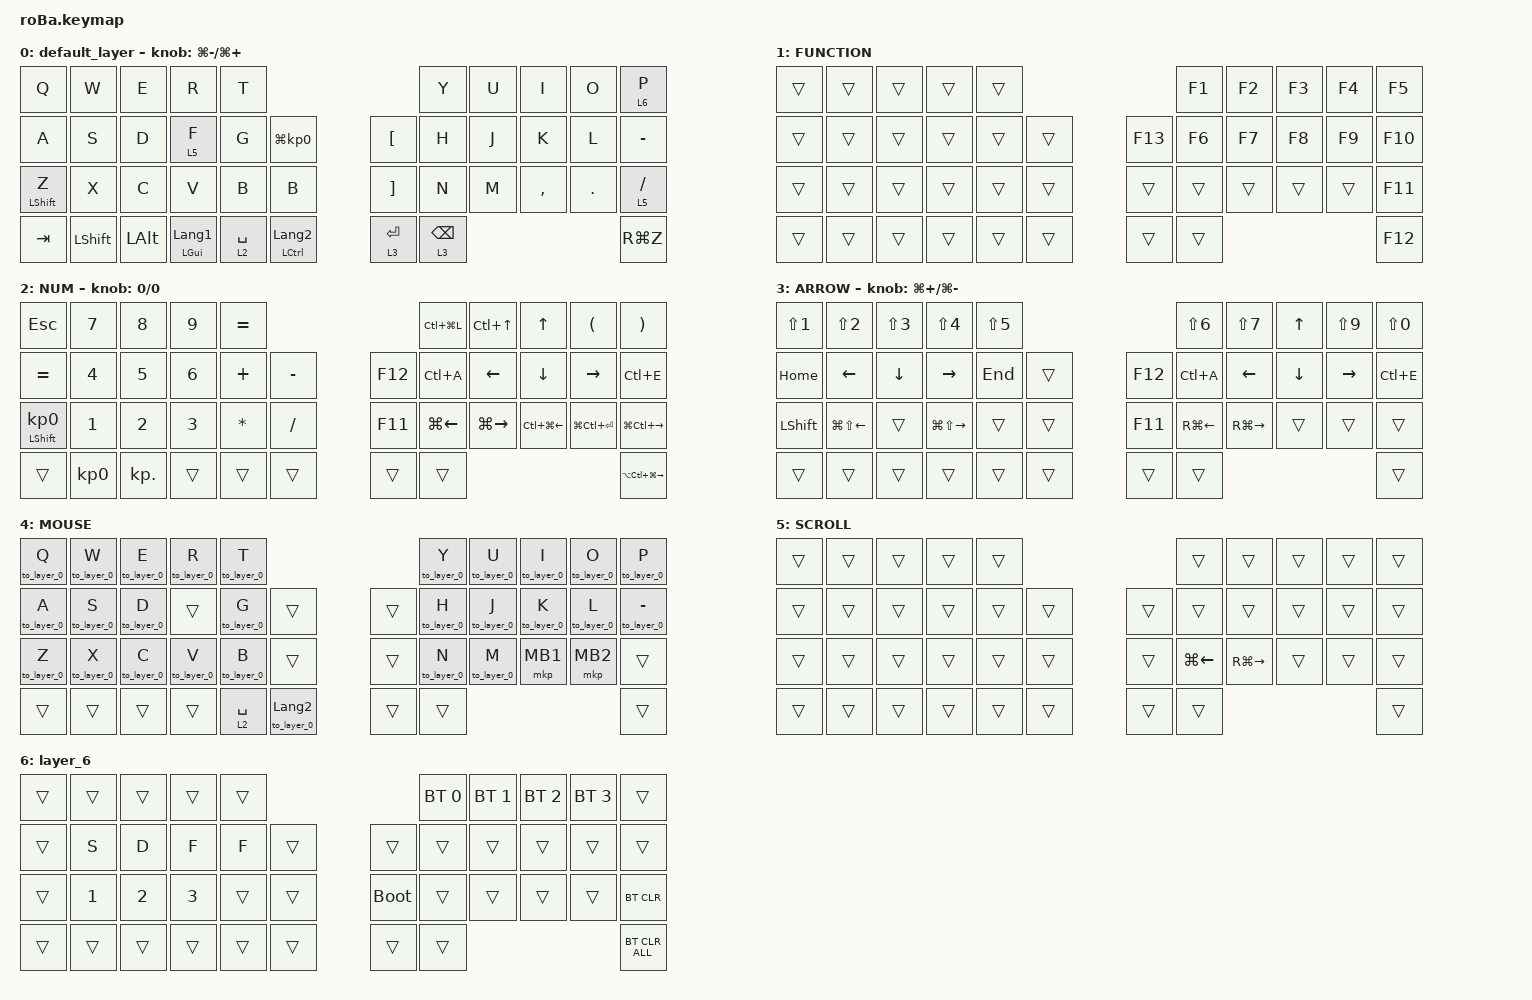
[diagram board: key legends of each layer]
#include <behaviors.dtsi>
#include <dt-bindings/zmk/bt.h>
#include <dt-bindings/zmk/keys.h>
#include <dt-bindings/zmk/pointing.h>

#define ZMK_MOUSE_DEFAULT_SCRL_VAL 100
#define MOUSE 4
#define SCROLL 5
#define NUM 6

&mt {
    flavor = "balanced";
    quick-tap-ms = <0>;
};

/ {
    combos {
        compatible = "zmk,combos";

        tab {
            bindings = <&kp LG(TAB)>;
            key-positions = <37 0>;
        };

        shift_tab {
            bindings = <&kp LS(TAB)>;
            key-positions = <12 13>;
        };

        muhennkann {
            bindings = <&to_layer_0 INT_MUHENKAN>;
            key-positions = <11 10>;
        };

        double_quotation {
            bindings = <&kp DOUBLE_QUOTES>;
            key-positions = <20 21>;
        };

        eq {
            bindings = <&kp EQUAL>;
            key-positions = <24 25>;
        };
    };

    macros {
    };

    to_layer_0: to_layer_0 {
        compatible = "zmk,behavior-macro-one-param";
        #binding-cells = <1>;
        bindings =
            <&to 0 &macro_param_1to1 &kp MACRO_PLACEHOLDER>,
            <&macro_press>;

        // スリープ操作

        label = "TO_LAYER_0";  // ラベルの設定
    };

    behaviors {
        inc_dec_kpSensor: inc_dec_kpSensor {
            compatible = "zmk,behavior-sensor-inc-dec-key-press";
            label = "Increment/Decrement Key Press";
            binding = <&kp >, <&kp >;

            sensor = <&left_encoder>;
            resolution = <1>;
        };
    };
};

/ {
    keymap {
        compatible = "zmk,keymap";

        default_layer {
            bindings = <
&kp Q             &kp W           &kp E         &kp R                    &kp T                                                            &kp Y            &kp U  &kp I      &kp O    &lt 6 P
&kp A             &kp S           &kp D         &lt 5 F                  &kp G        &kp LG(KP_NUMBER_0)              &kp LEFT_BRACKET   &kp H            &kp J  &kp K      &kp L    &kp MINUS
&mt LEFT_SHIFT Z  &kp X           &kp C         &kp V                    &kp B        &kp B                            &kp RIGHT_BRACKET  &kp N            &kp M  &kp COMMA  &kp DOT  &lt 5 SLASH
&kp TAB           &kp LEFT_SHIFT  &kp LEFT_ALT  &mt LEFT_GUI LANGUAGE_1  &lt 2 SPACE  &mt LEFT_CONTROL LANGUAGE_2      &lt 3 ENTER        &lt 3 BACKSPACE                             &kp RG(Z)
            >;

            sensor-bindings = <&inc_dec_kp LG(MINUS) LG(PLUS)>;
        };

        FUNCTION {
            bindings = <
&trans  &trans  &trans  &trans  &trans                       &kp F1  &kp F2  &kp F3  &kp F4  &kp F5
&trans  &trans  &trans  &trans  &trans  &trans      &kp F13  &kp F6  &kp F7  &kp F8  &kp F9  &kp F10
&trans  &trans  &trans  &trans  &trans  &trans      &trans   &trans  &trans  &trans  &trans  &kp F11
&trans  &trans  &trans  &trans  &trans  &trans      &trans   &trans                          &kp F12
            >;
        };

        NUM {
            bindings = <
&kp ESCAPE                  &kp N7        &kp N8        &kp N9        &kp EQUAL                             &kp LC(LG(L))       &kp LC(UP_ARROW)  &kp UP_ARROW      &kp LEFT_PARENTHESIS  &kp RIGHT_PARENTHESIS
&kp EQUAL                   &kp NUMBER_4  &kp N5        &kp NUMBER_6  &kp PLUS      &kp MINUS      &kp F12  &kp LC(A)           &kp LEFT          &kp DOWN_ARROW    &kp RIGHT_ARROW       &kp LC(E)
&mt LEFT_SHIFT KP_NUMBER_0  &kp NUMBER_1  &kp NUMBER_2  &kp NUMBER_3  &kp ASTERISK  &kp SLASH      &kp F11  &kp LG(LEFT_ARROW)  &kp LG(RIGHT)     &kp LC(LG(LEFT))  &kp LG(LC(ENTER))     &kp LG(LC(RIGHT))
&trans                      &kp KP_N0     &kp KP_DOT    &trans        &trans        &trans         &trans   &trans                                                                        &kp LA(LC(LG(RIGHT_ARROW)))
            >;

            sensor-bindings = <&inc_dec_kp 0 0>;
        };

        ARROW {
            bindings = <
&kp LS(NUMBER_1)  &kp LS(NUMBER_2)        &kp LS(NUMBER_3)  &kp LS(NUMBER_4)         &kp LS(N5)                       &kp LS(NUMBER_6)    &kp LS(N7)           &kp UP_ARROW    &kp LS(N9)       &kp LS(N0)
&kp HOME          &kp LEFT_ARROW          &kp DOWN_ARROW    &kp RIGHT_ARROW          &kp END     &trans      &kp F12  &kp LC(A)           &kp LEFT_ARROW       &kp DOWN_ARROW  &kp RIGHT_ARROW  &kp LC(E)
&kp LEFT_SHIFT    &kp LG(LS(LEFT_ARROW))  &trans            &kp LG(LS(RIGHT_ARROW))  &trans      &trans      &kp F11  &kp RG(LEFT_ARROW)  &kp RG(RIGHT_ARROW)  &trans          &trans           &trans
&trans            &trans                  &trans            &trans                   &trans      &trans      &trans   &trans                                                                    &trans
            >;

            sensor-bindings = <&inc_dec_kp LG(PLUS) LG(MINUS)>;
        };

        MOUSE {
            bindings = <
&to_layer_0 Q  &to_layer_0 W  &to_layer_0 E  &to_layer_0 R  &to_layer_0 T                                      &to_layer_0 Y  &to_layer_0 U  &to_layer_0 I  &to_layer_0 O  &to_layer_0 P
&to_layer_0 A  &to_layer_0 S  &to_layer_0 D  &trans         &to_layer_0 G  &trans                      &trans  &to_layer_0 H  &to_layer_0 J  &to_layer_0 K  &to_layer_0 L  &to_layer_0 MINUS
&to_layer_0 Z  &to_layer_0 X  &to_layer_0 C  &to_layer_0 V  &to_layer_0 B  &trans                      &trans  &to_layer_0 N  &to_layer_0 M  &mkp MB1       &mkp MB2       &trans
&trans         &trans         &trans         &trans         &lt 2 SPACE    &to_layer_0 LANGUAGE_2      &trans  &trans                                                      &trans
            >;
        };

        SCROLL {
            bindings = <
&trans  &trans  &trans  &trans  &trans                      &trans        &trans         &trans  &trans  &trans
&trans  &trans  &trans  &trans  &trans  &trans      &trans  &trans        &trans         &trans  &trans  &trans
&trans  &trans  &trans  &trans  &trans  &trans      &trans  &kp LG(LEFT)  &kp RG(RIGHT)  &trans  &trans  &trans
&trans  &trans  &trans  &trans  &trans  &trans      &trans  &trans                                       &trans
            >;
        };

        layer_6 {
            bindings = <
&trans  &trans        &trans        &trans        &trans                           &bt BT_SEL 0  &bt BT_SEL 1  &bt BT_SEL 2  &bt BT_SEL 3  &trans
&trans  &kp S         &kp D         &kp F         &kp F   &trans      &trans       &trans        &trans        &trans        &trans        &trans
&trans  &kp NUMBER_1  &kp NUMBER_2  &kp NUMBER_3  &trans  &trans      &bootloader  &trans        &trans        &trans        &trans        &bt BT_CLR
&trans  &trans        &trans        &trans        &trans  &trans      &trans       &trans                                                  &bt BT_CLR_ALL
            >;
        };
    };
};
